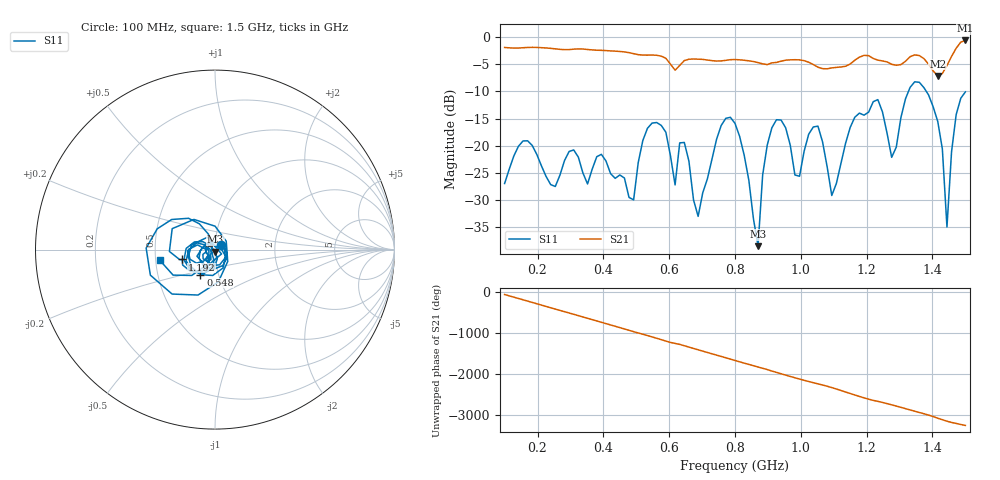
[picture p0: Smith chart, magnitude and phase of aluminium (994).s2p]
! NanoVNA-App
! Date: 2025-09-25 15:03:01
! Start: 100MHz Stop: 1,5GHz Points: 101
! S-Parameter data: F S11 S21 S12 S22
# Hz S RI R 50
!  Frequency  S11_Real  S11_Imag  S21_Real  S21_Imag  S12_Real  S12_Imag  S22_Real  S22_Imag
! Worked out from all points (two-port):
!   101 points, 100 MHz to 1.5 GHz, reference 50 ohm
!   highest |S21| = -0.63 dB at 1.5 GHz (marker M1); lowest = -7.2 dB at 1.416 GHz (marker M2)
!   |S21| within 3 dB of the highest: start of sweep to 579.8 MHz; 1.457 GHz to end of sweep (the widest 2 of 4)
!   lowest |S11| = -38.5 dB at 870 MHz (marker M3), VSWR 1.02, Z = 50.2 - j1.17 ohm
!   |S11| at or under -10 dB: start of sweep to 1.327 GHz; 1.381 GHz to end of sweep
!   S12 and S22 are empty: the file has one direction only
!   S11 on the Smith chart (normalised r, x): 100 MHz: 1.07, +0.06; 548 MHz: 0.82, -0.24; 1.192 GHz: 0.69, -0.08; 1.5 GHz: 0.53, -0.07
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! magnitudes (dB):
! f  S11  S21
! 100 MHz  -27.0  -1.9
! 156 MHz  -19.1  -2.0
! 338 MHz  -25.0  -2.2
! 492 MHz  -30.0  -3.1
! 548 MHz  -15.8  -3.3
! 576 MHz  -16.3  -3.5
! 618 MHz  -27.2  -6.1
! 646 MHz  -19.4  -4.3
! 688 MHz  -33.0  -4.1
! 800 MHz  -15.9  -4.1
! 870 MHz  -38.5  -4.7
! 912 MHz  -16.7  -4.8
! 996 MHz  -25.6  -4.2
! 1.038 GHz  -16.5  -5.1
! 1.094 GHz  -29.1  -5.7
! 1.192 GHz  -14.4  -3.4
! 1.276 GHz  -22.1  -5.0
! 1.346 GHz  -8.2  -3.3
! 1.416 GHz  -15.5  -7.2
! 1.444 GHz  -35.0  -5.2
! 1.472 GHz  -14.3  -2.1
! 1.5 GHz  -10.1  -0.6
